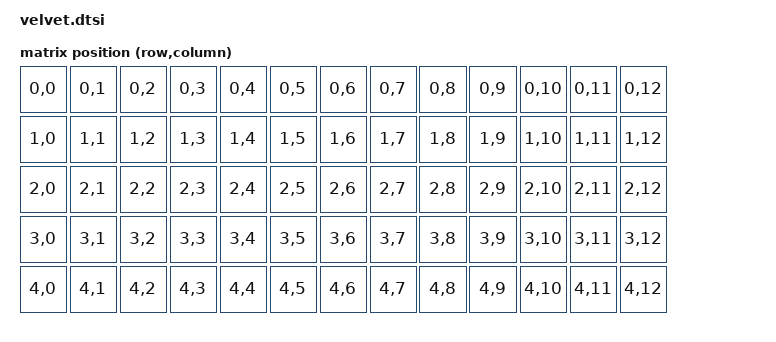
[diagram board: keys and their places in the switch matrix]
#include <dt-bindings/zmk/matrix_transform.h>
#include "velvet-layouts.dtsi"
#include <dt-bindings/led/led.h>

/ {
	chosen {
		zmk,kscan = &kscan0;
		zmk,physical-layout = &velvet_layout;
		zmk,backlight = &backlight;
	};

    EXT_POWER {
        compatible = "zmk,ext-power-generic";
        control-gpios = <&gpio1 13 GPIO_ACTIVE_HIGH>;
        init-delay-ms = <50>;
    };

	backlight: pwmleds {
		compatible = "pwm-leds";
		pwm_led_1: pwm_led_1 {
			pwms = <&pwm0 1 PWM_MSEC(1) PWM_POLARITY_NORMAL>;
		};
	};
	default_transform: keymap_transform_0 {
		compatible = "zmk,matrix-transform";
		columns = <13>;
		rows = <5>;
		map = <
	 RC(0,0) RC(0,1) RC(0,2) RC(0,3) RC(0,4) RC(0,5)  RC(0,6) RC(0,7) RC(0,8) RC(0,9) RC(0,10) RC(0,11) RC(0,12)
	 RC(1,0) RC(1,1) RC(1,2) RC(1,3) RC(1,4) RC(1,5)  RC(1,6) RC(1,7) RC(1,8) RC(1,9) RC(1,10) RC(1,11) RC(1,12)
	 RC(2,0) RC(2,1) RC(2,2) RC(2,3) RC(2,4) RC(2,5)  RC(2,6) RC(2,7) RC(2,8) RC(2,9) RC(2,10) RC(2,11) RC(2,12)
	 RC(3,0) RC(3,1) RC(3,2) RC(3,3) RC(3,4) RC(3,5)  RC(3,6) RC(3,7) RC(3,8) RC(3,9) RC(3,10) RC(3,11) RC(3,12)
	 RC(4,0) RC(4,1) RC(4,2) RC(4,3) RC(4,4) RC(4,5)  RC(4,6) RC(4,7) RC(4,8) RC(4,9) RC(4,10) RC(4,11) RC(4,12)
		>;
	};

    kscan0: kscan {
        wakeup-source;
        diode-direction = "col2row";
    };

	left_encoder: encoder_left {
		compatible = "alps,ec11";
		label = "LEFT_ENCODER";
		resolution = <4>;
        steps = <40>;
		status = "disabled";
	};

    sensors {
		compatible = "zmk,keymap-sensors";
		sensors = <&left_encoder>;
	};

};


&pinctrl {

    spi0_default: spi0_default {
        group1 {
            psels = <NRF_PSEL(SPIM_SCK, 0, 20)>,
                <NRF_PSEL(SPIM_MOSI, 0, 17)>,
                <NRF_PSEL(SPIM_MISO, 0, 25)>;
        };
    };

    spi0_sleep: spi0_sleep {
        group1 {
            psels = <NRF_PSEL(SPIM_SCK, 0, 20)>,
                <NRF_PSEL(SPIM_MOSI, 0, 17)>,
                <NRF_PSEL(SPIM_MISO, 0, 25)>;
            low-power-enable;
        };
    };

	pwm0_default: pwm0_default {
        group1 {
            psels = <NRF_PSEL(PWM_OUT1, 0, 27)>; // LED 1
           
        };
    };
    pwm0_sleep: pwm0_sleep {
        group1 {
            psels = <NRF_PSEL(PWM_OUT1, 0, 27)>; // LED 1
            low-power-enable;
        };
    };
};

nice_view_spi: &spi0 {
    compatible = "nordic,nrf-spim";
    pinctrl-0 = <&spi0_default>;
    pinctrl-1 = <&spi0_sleep>;
    pinctrl-names = "default", "sleep";
    cs-gpios = <&gpio0 6 GPIO_ACTIVE_HIGH>;
};

&pwm0 {
    status = "okay";
    pinctrl-0 = <&pwm0_default>;
    pinctrl-1 = <&pwm0_sleep>;
    pinctrl-names = "default", "sleep";
};
